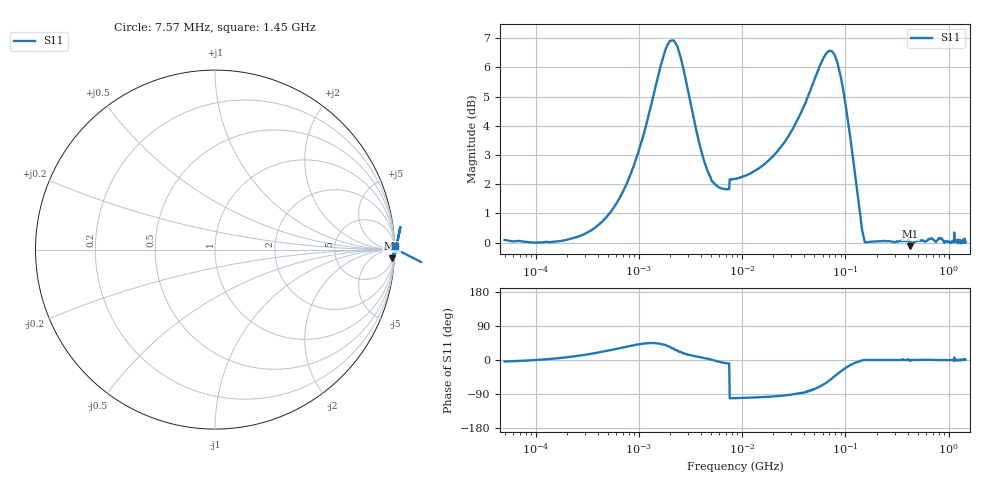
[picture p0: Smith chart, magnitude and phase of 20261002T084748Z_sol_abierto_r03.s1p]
! piloto_deriva / sol_abierto / r03
# HZ S RI R 50
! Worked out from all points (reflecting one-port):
!   501 points, 50 kHz to 1.45 GHz, reference 50 ohm
!   lowest |S11| = -0.1 dB at 424 MHz (marker M1), VSWR 142.25, Z = 543 - j1.89e+03 ohm
!   phase of S11 starts at -4 deg and turns +5 deg over the sweep
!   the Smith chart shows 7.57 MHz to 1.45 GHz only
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50000  1.008 -0.0706
183000  1.002 0.1053
363500  1.008 0.3168
658000  1.02 0.6271
1180000  1.145 1.11
1630000  1.487 1.354
1990000  1.81 1.273
2440000  1.973 0.7821
3430000  1.591 0.2946
4870000  1.298 0.043
7300000  1.219 -0.1922
7750000  -0.2413 -1.26
8560000  -0.2356 -1.263
1.81e7  -0.1687 -1.373
3.16e7  -0.0126 -1.577
4.69e7  0.3039 -1.816
5.68e7  0.6976 -1.887
6.49e7  1.045 -1.828
7.39e7  1.397 -1.599
8.65e7  1.651 -1.101
9.82e7  1.628 -0.6737
1e8  1.611 -0.6196
1.18e8  1.378 -0.2427
1.36e8  1.147 -0.0686
1.63e8  1.002 -0.000465
4.06e8  1.012 0.0381
4.24e8  0.9849 -0.0482
1.45e9  1.001 0.022
